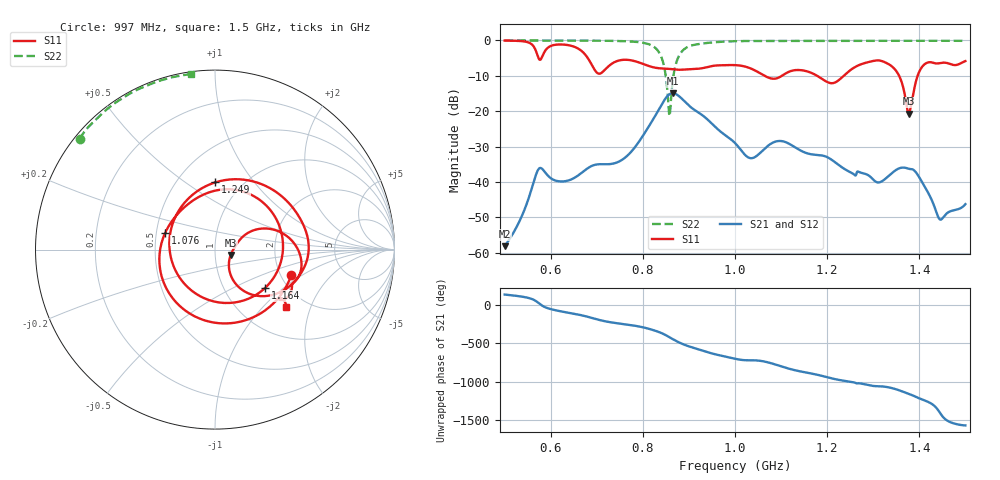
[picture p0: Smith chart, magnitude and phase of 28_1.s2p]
! TOUCHSTONE file generated by CST MICROWAVE STUDIO
! Date and time: Sat Nov 14 20:39:46 2020
! Project name: Scenario_1_Planar_Body_Tissue_Out_of_Line_v2.cst
! Parameters = {dy1=-121.1; L_HA=400; Ltissue=700; MT=2.54; Rad_Dielectric=30; Rad_Lower=7.3; Rad_Upper=30; Wtissue=700; a_HA=580; a_WG=246; b_HA=500; b_WG=121; c_HA=0; c_WG=187; d_feed=85; dx1=173; h_feed=15; h_lower=18; h_upper=40; hfat=3; hgap=25; hmuscle=50; hskin=1.5}
! Header version: 2018
! Port assignment regex: !\s*Touchstone port\s*([0-9]+)\s*=\s*(CST MWS port|CST DS port)\s*([0-9]+|Zmin|Zmax)\s*\(\"(.*)\"\)(\s*mode\s*([0-9]+))?.*
! Touchstone port assignment:
! Touchstone port 1 = CST MWS port 1 ("")
! Touchstone port 2 = CST MWS port 2 ("")
# GHz S DB R 50
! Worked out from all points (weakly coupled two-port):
!   1003 points, 500 MHz to 1.5 GHz, reference 50 ohm
!   highest |S21| = -14.93 dB at 865 MHz (marker M1); lowest = -58.2 dB at 500 MHz (marker M2)
!   lowest |S11| = -20.7 dB at 1.377 GHz (marker M3), VSWR 1.20, Z = 59.4 - j3.64 ohm
!   |S11| at or under -10 dB: 1.064 GHz to 1.102 GHz (37.66 MHz wide, 3.48 % of centre); 1.178 GHz to 1.236 GHz (57.58 MHz wide, 4.77 % of centre); 1.356 GHz to 1.396 GHz (40.13 MHz wide, 2.92 % of centre)
!   |S22| runs from -21.4 to 0.0 dB; largest |S21 - S12| = 0.0002
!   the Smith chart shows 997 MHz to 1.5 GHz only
!   S11 on the Smith chart (normalised r, x): 997 MHz: 2.28, -0.81; 1.076 GHz: 0.56, +0.12; 1.164 GHz: 1.55, -0.76; 1.249 GHz: 0.76, +0.66; 1.5 GHz: 1.59, -1.38
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0.5  -0.05 -121.8  -58.17 131.1  -58.17 131.1  -0.01 151.2
0.575  -5.33 -162.3  -36.19 15.6  -36.19 15.6  -0.02 146.0
0.628  -1.17 171.8  -39.85 -93.8  -39.85 -93.8  -0.03 141.9
0.667  -2.97 109.5  -37.45 -137.8  -37.45 -137.8  -0.04 138.4
0.693  -7.78 23.8  -35.29 -178.4  -35.29 -178.4  -0.06 135.7
0.718  -8.25 -97.6  -35.01 144.4  -35.01 144.4  -0.09 132.6
0.757  -5.49 166.0  -33.57 108.5  -33.57 108.5  -0.20 126.1
0.834  -7.85 17.0  -19.69 6.7  -19.69 6.7  -3.14 83.5
0.857  -8.04 -43.5  -15.29 -59.7  -15.29 -59.7  -20.77 -23.8
0.865  -8.15 -66.4  -14.93 -87.2  -14.93 -87.2  -11.27 -135.1
0.904  -8.13 -174.8  -18.87 171.2  -18.87 171.2  -1.50 164.9
0.944  -7.41 89.4  -22.79 96.8  -22.79 96.8  -0.66 150.5
0.997  -6.97 -18.5  -28.62 22.3  -28.62 22.3  -0.23 140.8
1  -6.98 -24.3  -29.00 18.3  -29.00 18.3  -0.22 140.3
1.076  -10.67 161.0  -29.36 -35.6  -29.36 -35.6  -0.15 131.7
1.164  -9.08 -37.3  -32.16 -171.3  -32.16 -171.3  -0.10 124.4
1.167  -9.24 -43.5  -32.22 -174.8  -32.22 -174.8  -0.10 124.2
1.249  -8.53 89.8  -37.17 80.8  -37.17 80.8  -0.08 118.0
1.334  -6.75 -27.0  -38.25 6.7  -38.25 6.7  -0.09 111.6
1.377  -20.69 -19.2  -36.28 -76.4  -36.28 -76.4  -0.09 108.2
1.411  -6.77 0.9  -41.17 -161.2  -41.17 -161.2  -0.09 105.5
1.5  -5.84 -38.9  -46.28 -127.0  -46.28 -127.0  -0.12 97.9
